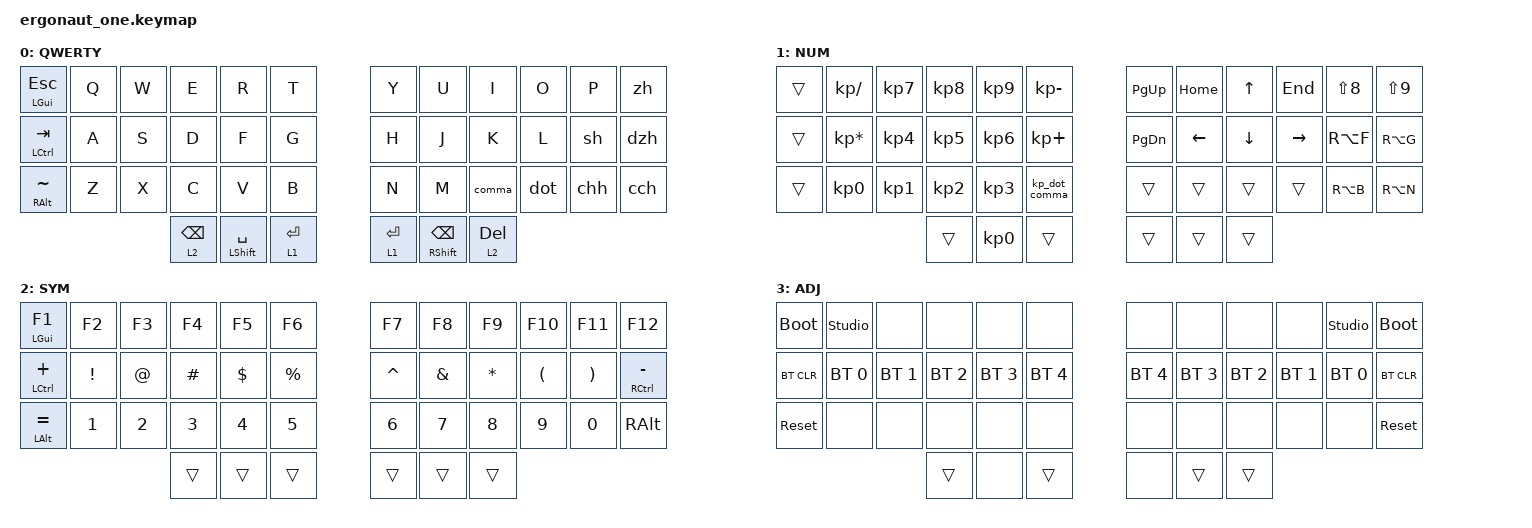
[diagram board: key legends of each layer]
#include <behaviors.dtsi>
#include <dt-bindings/zmk/bt.h>
#include <dt-bindings/zmk/keys.h>

#define DEF 0
#define LWR 1
#define RSE 2
#define ADJ 3

&lt { quick-tap-ms = <200>; };

&mt { quick-tap-ms = <200>; };

/ {
    combos {
        compatible = "zmk,combos";

        // Combo reset behaviors run on the central (the dongle).
        // Use the still-connected half after one second without typing.
        dongle_reset_left {
            timeout-ms = <100>;
            require-prior-idle-ms = <1000>;
            key-positions = <1 2 3 4>; // Q W E R
            bindings = <&sys_reset>;
        };

        dongle_reset_right {
            timeout-ms = <100>;
            require-prior-idle-ms = <1000>;
            key-positions = <7 8 9 10>; // U I O P
            bindings = <&sys_reset>;
        };
    };

    conditional_layers {
        compatible = "zmk,conditional-layers";

        tri-layer {
            if-layers = <1 2>;
            then-layer = <3>;
        };
    };

    behaviors {
        zh: zh {
            compatible = "zmk,behavior-tap-dance";
            label = "ZH";
            #binding-cells = <0>;
            bindings = <&kp EQUAL>, <&kp BACKSLASH>;
        };

        dot: dot {
            compatible = "zmk,behavior-tap-dance";
            label = "DOT";
            #binding-cells = <0>;
            bindings = <&kp DOT>, <&kp LS(DOT)>, <&kp LS(MINUS)>;
        };

        comma: comma {
            compatible = "zmk,behavior-tap-dance";
            label = "COMMA";
            #binding-cells = <0>;
            bindings = <&kp COMMA>, <&kp LS(COMMA)>, <&kp LS(NUMBER_1)>;
        };

        sh: sh {
            compatible = "zmk,behavior-tap-dance";
            label = "SH";
            #binding-cells = <0>;
            bindings = <&kp MINUS>, <&kp LEFT_BRACKET>;
        };

        dzh: dzh {
            compatible = "zmk,behavior-tap-dance";
            label = "DZH";
            #binding-cells = <0>;
            bindings = <&kp C_VOLUME_UP>, <&kp RIGHT_BRACKET>;
        };

        chh: chh {
            compatible = "zmk,behavior-tap-dance";
            label = "CHH";
            #binding-cells = <0>;
            bindings = <&kp SLASH>, <&kp SEMICOLON>;
        };

        cch: cch {
            compatible = "zmk,behavior-tap-dance";
            label = "CCH";
            #binding-cells = <0>;
            bindings = <&kp C_VOLUME_DOWN>, <&kp SINGLE_QUOTE>;
        };

        kp_dot_comma: kp_dot_comma {
            compatible = "zmk,behavior-tap-dance";
            label = "KP_DOT_COMMA";
            #binding-cells = <0>;
            bindings = <&kp DOT>, <&kp KP_DOT>;
        };
    };

    keymap {
        compatible = "zmk,keymap";

        default_layer {
            display-name = "QWERTY";
            bindings = <
&mt LGUI ESCAPE      &kp Q  &kp W  &kp E            &kp R            &kp T      &kp Y        &kp U                      &kp I      &kp O  &kp P  &zh
&mt LCTRL TAB        &kp A  &kp S  &kp D            &kp F            &kp G      &kp H        &kp J                      &kp K      &kp L  &sh    &dzh
&mt RIGHT_ALT TILDE  &kp Z  &kp X  &kp C            &kp V            &kp B      &kp N        &kp M                      &comma     &dot   &chh   &cch
                                   &lt 2 BACKSPACE  &mt LSHFT SPACE  &lt 1 RET  &lt 1 ENTER  &mt RIGHT_SHIFT BACKSPACE  &lt 2 DEL
            >;
        };

        num {
            display-name = "NUM";
            bindings = <
&trans  &kp KP_SLASH     &kp KP_N7  &kp KP_N8  &kp KP_N9        &kp KP_MINUS   &kp PAGE_UP    &kp HOME  &kp UP_ARROW    &kp END    &kp LS(N8)  &kp LS(N9)
&trans  &kp KP_MULTIPLY  &kp KP_N4  &kp KP_N5  &kp KP_N6        &kp KP_PLUS    &kp PAGE_DOWN  &kp LEFT  &kp DOWN_ARROW  &kp RIGHT  &kp RA(F)   &kp RA(G)
&trans  &kp KP_N0        &kp KP_N1  &kp KP_N2  &kp KP_N3        &kp_dot_comma  &trans         &trans    &trans          &trans     &kp RA(B)   &kp RA(N)
                                    &trans     &kp KP_NUMBER_0  &trans         &trans         &trans    &trans
            >;
        };

        sym {
            display-name = "SYM";
            bindings = <
&mt LGUI F1     &kp F2    &kp F3  &kp F4    &kp F5    &kp F6     &kp F7     &kp F8    &kp F9    &kp F10   &kp F11   &kp F12
&mt LCTRL PLUS  &kp EXCL  &kp AT  &kp HASH  &kp DLLR  &kp PRCNT  &kp CARET  &kp AMPS  &kp STAR  &kp LPAR  &kp RPAR  &mt RCTRL MINUS
&mt LALT EQUAL  &kp N1    &kp N2  &kp N3    &kp N4    &kp N5     &kp N6     &kp N7    &kp N8    &kp N9    &kp N0    &kp RALT
                                  &trans    &trans    &trans     &trans     &trans    &trans
            >;
        };

        adjust_layer {
            display-name = "ADJ";
            bindings = <
&bootloader  &studio_unlock  &none         &none         &none         &none         &none         &none         &none         &none         &studio_unlock  &bootloader
&bt BT_CLR   &bt BT_SEL 0    &bt BT_SEL 1  &bt BT_SEL 2  &bt BT_SEL 3  &bt BT_SEL 4  &bt BT_SEL 4  &bt BT_SEL 3  &bt BT_SEL 2  &bt BT_SEL 1  &bt BT_SEL 0    &bt BT_CLR
&sys_reset   &none           &none         &none         &none         &none         &none         &none         &none         &none         &none           &sys_reset
                                           &trans        &none         &trans        &none         &trans        &trans
            >;
        };
    };
};
